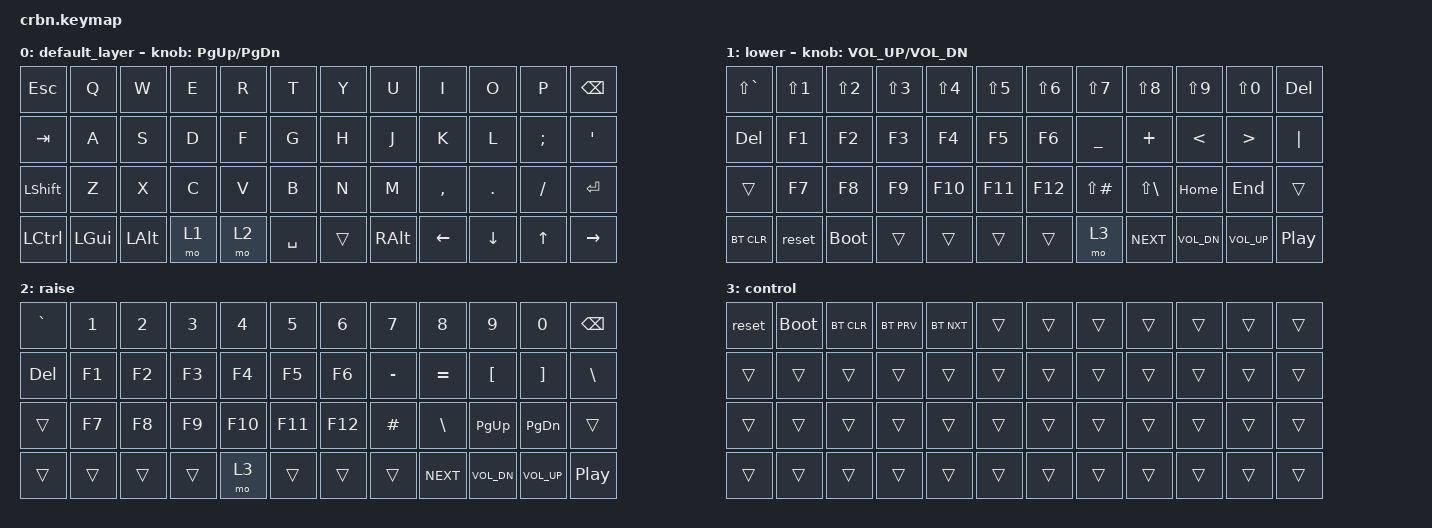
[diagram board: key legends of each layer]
/*
 * Copyright (c) 2020 The ZMK Contributors
 *
 * SPDX-License-Identifier: MIT
 */

#include <behaviors.dtsi>
#include <dt-bindings/zmk/keys.h>
#include <dt-bindings/zmk/bt.h>

/ {
	keymap {
		compatible = "zmk,keymap";

		default_layer {
				// -----------------------------------------------------------------------------------------
				// |  TAB  |  Q   |  W   |  E   |  R   |  T   |   Y   |  U    |  I   |  O   |   P   | BSPC  |
				// |  ESC  |  A   |  S   |  D   |  F   |  G   |   H   |  J    |  K   |  L   |   ;   |  '    |
				// | SHIFT |  Z   |  X   |  C   |  V   |  B   |   N   |  M    |  ,   |  .   |   /   |  RET  |
				// | FN    | LGUI | LALT | LCTL | LOWR |     SPACE    |  RAIS | LARW | DARW | UARW  |  RARW |
			bindings = <
				&kp ESC  &kp Q    &kp W &kp E &kp R &kp T  &kp Y   &kp U  &kp I    &kp O   &kp P    &kp BSPC
				&kp TAB  &kp A    &kp S &kp D &kp F &kp G  &kp H   &kp J  &kp K    &kp L   &kp SEMI &kp SQT
				&kp LSHFT &kp Z    &kp X &kp C &kp V &kp B  &kp N   &kp M  &kp COMMA &kp DOT &kp FSLH &kp RET
				&kp LCTRL &kp LGUI &kp LALT &mo 1 &mo 2 &kp SPACE &trans &kp RALT &kp LEFT &kp DOWN &kp UP &kp RIGHT
			>;

			sensor-bindings = <&inc_dec_kp PG_UP PG_DN>;
		};

		lower {
			bindings = <
				&kp LS(GRAVE) &kp LS(N1) &kp LS(N2) &kp LS(N3) &kp LS(N4) &kp LS(N5) &kp LS(N6) &kp LS(N7) &kp LS(N8) &kp LS(N9) &kp LS(N0) &kp DEL
				&kp DEL &kp F1 &kp F2 &kp F3 &kp F4 &kp F5 &kp F6 &kp UNDER &kp PLUS &kp LT &kp GT &kp PIPE
				&trans &kp F7 &kp F8 &kp F9 &kp F10 &kp F11 &kp F12 &kp LS(HASH) &kp LS(BSLH) &kp HOME &kp END &trans
				&bt BT_CLR &reset &bootloader &trans &trans &trans &trans &mo 3 &kp C_NEXT &kp C_VOL_DN &kp C_VOL_UP &kp C_PP
			>;

			sensor-bindings = <&inc_dec_kp C_VOL_UP C_VOL_DN>;
		};

		raise {
			bindings = <
				&kp GRAVE &kp N1 &kp N2 &kp N3 &kp N4 &kp N5 &kp N6 &kp N7 &kp N8 &kp N9 &kp N0 &kp BSPC
				&kp DEL &kp F1 &kp F2 &kp F3 &kp F4 &kp F5 &kp F6 &kp MINUS &kp EQUAL &kp LBKT &kp RBKT &kp BSLH
				&trans &kp F7 &kp F8 &kp F9 &kp F10 &kp F11 &kp F12 &kp HASH &kp BSLH &kp PG_UP &kp PG_DN &trans
				&trans &trans &trans &trans &mo 3 &trans &trans &trans &kp C_NEXT &kp C_VOL_DN &kp C_VOL_UP &kp C_PP
			>;
		};
		
		control {
			bindings = <
				&reset &bootloader &bt BT_CLR &bt BT_PRV &bt BT_NXT &trans &trans &trans &trans &trans &trans &trans
				&trans &trans &trans &trans &trans &trans &trans &trans &trans &trans &trans &trans
				&trans &trans &trans &trans &trans &trans &trans &trans &trans &trans &trans &trans
				&trans &trans &trans &trans &trans &trans &trans &trans &trans &trans &trans &trans
			>;
		};
	};
};
&kscan0 {
    col-gpios
			= <&pro_micro_a 2 GPIO_ACTIVE_HIGH>
			, <&pro_micro_d 0 GPIO_ACTIVE_HIGH>
			, <&pro_micro_d 2 GPIO_ACTIVE_HIGH>
			, <&pro_micro_a 3 GPIO_ACTIVE_HIGH>
			, <&pro_micro_d 4 GPIO_ACTIVE_HIGH>
			, <&pro_micro_d 5 GPIO_ACTIVE_HIGH>
			, <&pro_micro_d 6 GPIO_ACTIVE_HIGH>
			, <&pro_micro_d 7 GPIO_ACTIVE_HIGH>
			, <&pro_micro_d 8 GPIO_ACTIVE_HIGH>
			, <&pro_micro_d 9 GPIO_ACTIVE_HIGH>
			, <&pro_micro_d 10 GPIO_ACTIVE_HIGH>
			, <&pro_micro_d 16 GPIO_ACTIVE_HIGH>
			;
    row-gpios
			= <&pro_micro_d 14 (GPIO_ACTIVE_HIGH | GPIO_PULL_DOWN)>
			, <&pro_micro_d 15 (GPIO_ACTIVE_HIGH | GPIO_PULL_DOWN)>
			, <&pro_micro_a 0 (GPIO_ACTIVE_HIGH | GPIO_PULL_DOWN)>
			, <&pro_micro_a 1 (GPIO_ACTIVE_HIGH | GPIO_PULL_DOWN)>
			;
};
